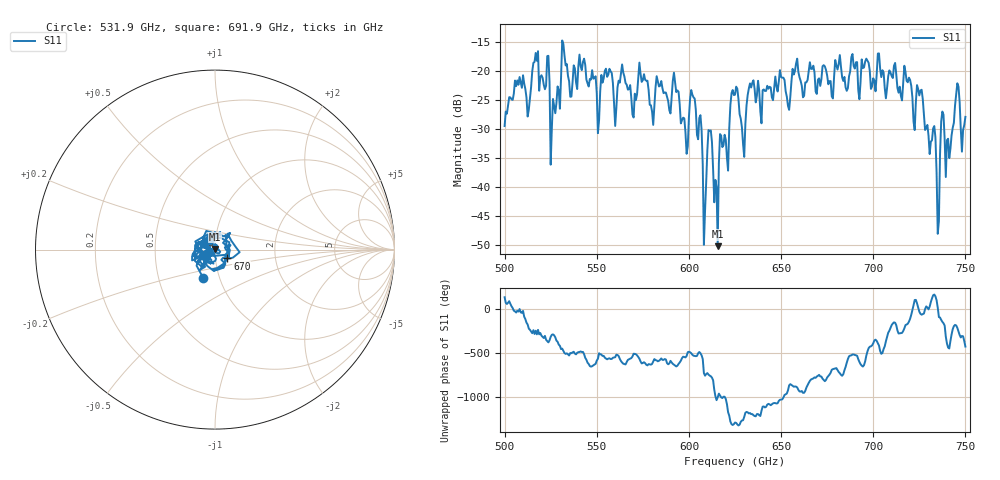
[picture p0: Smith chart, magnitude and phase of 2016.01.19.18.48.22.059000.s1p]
!Created with skrf (http://scikit-rf.org).
# GHz S RI R 50.0
!freq ReS11 ImS11
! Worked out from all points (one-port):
!   401 points, 500 GHz to 750 GHz, reference 50 ohm
!   lowest |S11| = -50.1 dB at 615.6 GHz (marker M1), VSWR 1.01, Z = 50 + j0.308 ohm
!   |S11| at or under -10 dB: start of sweep to end of sweep
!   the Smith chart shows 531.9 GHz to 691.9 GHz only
!   S11 on the Smith chart (normalised r, x): 531.9 GHz: 0.84, -0.27; 670 GHz: 1.14, -0.11; 691.9 GHz: 0.88, +0.06
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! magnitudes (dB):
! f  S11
! 500 GHz  -29.4
! 513.1 GHz  -26.6
! 516.9 GHz  -16.8
! 526.2 GHz  -24.8
! 531.2 GHz  -14.7
! 531.9 GHz  -15.3
! 550.6 GHz  -30.7
! 562.5 GHz  -22.0
! 593.8 GHz  -23.3
! 598.1 GHz  -30.6
! 602.5 GHz  -24.5
! 608.8 GHz  -44.0
! 611.2 GHz  -30.3
! 615.6 GHz  -50.1
! 625 GHz  -24.0
! 629.4 GHz  -32.5
! 633.8 GHz  -22.8
! 656.2 GHz  -19.6
! 670 GHz  -21.4
! 687.5 GHz  -20.0
! 691.9 GHz  -23.2
! 718.8 GHz  -21.9
! 732.5 GHz  -29.8
! 735 GHz  -48.0
! 737.5 GHz  -26.9
! 740.6 GHz  -31.6
! 745.6 GHz  -22.1
! 750 GHz  -27.9
